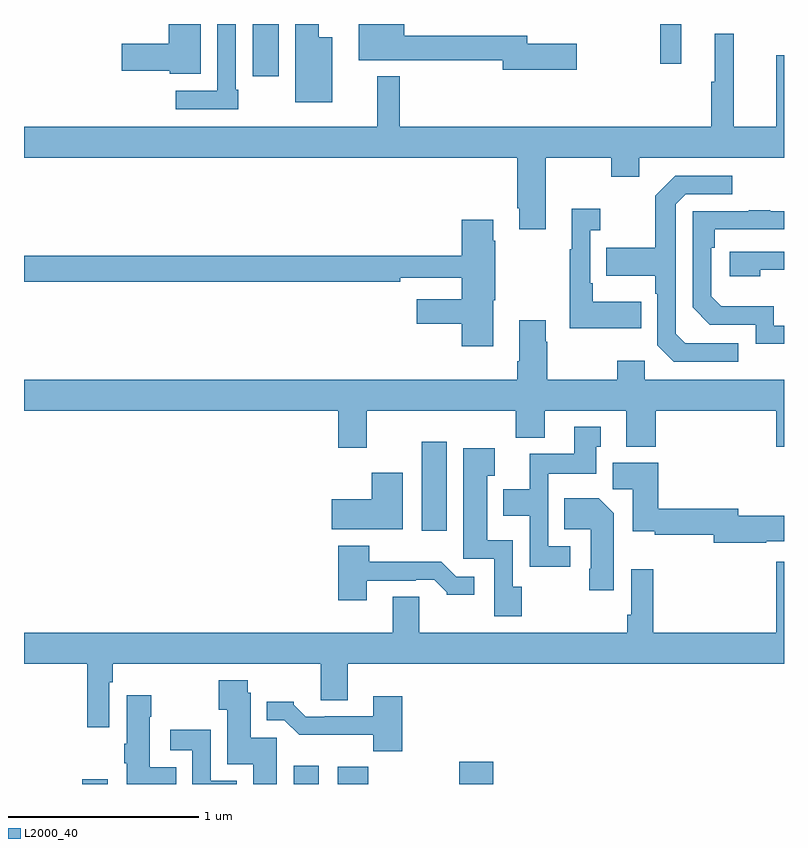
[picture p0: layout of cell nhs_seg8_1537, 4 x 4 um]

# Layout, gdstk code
import gdstk
lib = gdstk.Library(unit=1e-6, precision=1e-09)
def R(c, l, rs):  # rectangles x0, y0, x1, y1
    for r in rs: c.add(gdstk.rectangle(r[:2], r[2:], *l))
def P(c, l, *ps):  # polygons
    for p in ps: c.add(gdstk.Polygon(p, *l))
L2000_40 = (2000, 40)

nhs_seg8_1537 = lib.new_cell('nhs_seg8_1537')
R(nhs_seg8_1537, L2000_40, [(209.306,1083.9,209.44,1083.925), (210.419,1083.9,210.55,1083.997), (210.65,1083.9,210.812,1083.991), (211.291,1083.9,211.469,1084.018), (211.094,1085.232,211.225,1085.701), (210.203,1087.626,210.34,1087.9), (212.349,1087.692,212.459,1087.9)])
P(nhs_seg8_1537, L2000_40, [(210.127,1087.555),(210.114,1087.555),(210.114,1087.9),(210.018,1087.9),(210.018,1087.548),(209.799,1087.548),(209.799,1087.452),(210.127,1087.452)],
  [(209.929,1087.9),(209.762,1087.9),(209.762,1087.796),(209.514,1087.796),(209.514,1087.654),(209.766,1087.654),(209.766,1087.637),(209.929,1087.637)],
  [(211.909,1087.797),(211.648,1087.797),(211.648,1087.838),(211,1087.838),(211,1087.9),(210.761,1087.9),(210.761,1087.709),(210.996,1087.709),(210.996,1087.71),(211.52,1087.71),(211.52,1087.66),(211.909,1087.66)],
  [(210.622,1087.831),(210.55,1087.831),(210.55,1087.9),(210.428,1087.9),(210.428,1087.487),(210.622,1087.487)],
  [(211.747,1087.196),(212.092,1087.196),(212.092,1087.097),(212.239,1087.097),(212.239,1087.196),(213,1087.196),(213,1087.735),(212.96,1087.735),(212.96,1087.36),(212.736,1087.36),(212.736,1087.849),(212.636,1087.849),(212.636,1087.596),(212.617,1087.596),(212.617,1087.36),(210.977,1087.36),(210.977,1087.624),(210.859,1087.624),(210.859,1087.36),(209,1087.36),(209,1087.196),(211.595,1087.196),(211.595,1086.931),(211.607,1086.931),(211.607,1086.819),(211.747,1086.819)],
  [(212.758,1086.219),(212.481,1086.219),(212.43,1086.27),(212.43,1086.951),(212.484,1087.005),(212.728,1087.005),(212.728,1087.101),(212.427,1087.101),(212.322,1086.995),(212.322,1086.723),(212.065,1086.723),(212.065,1086.575),(212.322,1086.575),(212.322,1086.479),(212.334,1086.479),(212.334,1086.21),(212.421,1086.123),(212.758,1086.123)],
  [(212.249,1086.439),(211.993,1086.439),(211.993,1086.535),(211.98,1086.535),(211.98,1086.815),(212.032,1086.815),(212.032,1086.928),(211.883,1086.928),(211.883,1086.715),(211.872,1086.715),(211.872,1086.299),(212.249,1086.299)],
  [(213,1086.312),(212.946,1086.312),(212.946,1086.415),(212.669,1086.415),(212.616,1086.468),(212.616,1086.722),(212.636,1086.722),(212.636,1086.819),(213,1086.819),(213,1086.915),(212.927,1086.915),(212.927,1086.92),(212.815,1086.92),(212.815,1086.915),(212.52,1086.915),(212.52,1086.408),(212.61,1086.318),(212.85,1086.318),(212.85,1086.216),(213,1086.216)],
  [(211.471,1086.447),(211.479,1086.447),(211.479,1086.758),(211.471,1086.758),(211.471,1086.871),(211.304,1086.871),(211.304,1086.68),(209,1086.68),(209,1086.544),(210.98,1086.544),(210.98,1086.564),(211.304,1086.564),(211.304,1086.451),(211.068,1086.451),(211.068,1086.322),(211.304,1086.322),(211.304,1086.204),(211.471,1086.204)],
  [(212.876,1086.606),(213,1086.606),(213,1086.702),(212.715,1086.702),(212.715,1086.572),(212.876,1086.572)],
  [(210.805,1085.864),(211.589,1085.864),(211.589,1085.723),(211.741,1085.723),(211.741,1085.864),(212.171,1085.864),(212.171,1085.675),(212.324,1085.675),(212.324,1085.864),(212.96,1085.864),(212.96,1085.676),(213,1085.676),(213,1086.028),(212.268,1086.028),(212.268,1086.127),(212.122,1086.127),(212.122,1086.028),(211.755,1086.028),(211.755,1086.227),(211.747,1086.227),(211.747,1086.34),(211.607,1086.34),(211.607,1086.124),(211.595,1086.124),(211.595,1086.028),(209,1086.028),(209,1085.864),(210.653,1085.864),(210.653,1085.67),(210.805,1085.67)],
  [(211.876,1085.151),(211.758,1085.151),(211.758,1085.534),(212.011,1085.534),(212.011,1085.676),(212.035,1085.676),(212.035,1085.779),(211.895,1085.779),(211.895,1085.638),(211.661,1085.638),(211.661,1085.451),(211.523,1085.451),(211.523,1085.312),(211.662,1085.312),(211.662,1085.043),(211.876,1085.043)],
  [(211.62,1084.938),(211.572,1084.938),(211.572,1085.182),(211.438,1085.182),(211.438,1085.522),(211.477,1085.522),(211.477,1085.668),(211.313,1085.668),(211.313,1085.085),(211.476,1085.085),(211.476,1084.782),(211.62,1084.782)],
  [(212.906,1085.177),(213,1085.177),(213,1085.312),(212.758,1085.312),(212.758,1085.348),(212.339,1085.348),(212.339,1085.59),(212.099,1085.59),(212.099,1085.452),(212.204,1085.452),(212.204,1085.231),(212.32,1085.231),(212.32,1085.212),(212.63,1085.212),(212.63,1085.17),(212.906,1085.17)],
  [(210.994,1085.539),(210.83,1085.539),(210.83,1085.398),(210.621,1085.398),(210.621,1085.24),(210.994,1085.24)],
  [(212.104,1085.326),(212.026,1085.404),(211.843,1085.404),(211.843,1085.24),(211.982,1085.24),(211.982,1085.032),(211.975,1085.032),(211.975,1084.92),(212.104,1084.92)],
  [(210.805,1084.971),(211.061,1084.971),(211.061,1084.974),(211.16,1084.974),(211.224,1084.91),(211.224,1084.895),(211.369,1084.895),(211.369,1084.992),(211.275,1084.992),(211.197,1085.071),(210.818,1085.071),(210.818,1085.155),(210.653,1085.155),(210.653,1084.866),(210.805,1084.866)],
  [(209.448,1084.436),(209.468,1084.436),(209.468,1084.532),(210.563,1084.532),(210.563,1084.342),(210.703,1084.342),(210.703,1084.532),(213,1084.532),(213,1085.071),(212.96,1085.071),(212.96,1084.696),(212.312,1084.696),(212.312,1085.029),(212.196,1085.029),(212.196,1084.792),(212.176,1084.792),(212.176,1084.696),(211.081,1084.696),(211.081,1084.886),(210.941,1084.886),(210.941,1084.696),(209,1084.696),(209,1084.532),(209.332,1084.532),(209.332,1084.2),(209.448,1084.2)],
  [(210.331,1084.143),(210.193,1084.143),(210.193,1084.38),(210.177,1084.38),(210.177,1084.447),(210.025,1084.447),(210.025,1084.291),(210.071,1084.291),(210.071,1084.004),(210.206,1084.004),(210.206,1083.9),(210.331,1083.9)],
  [(209.801,1083.988),(209.662,1083.988),(209.662,1084.253),(209.67,1084.253),(209.67,1084.366),(209.54,1084.366),(209.54,1084.112),(209.528,1084.112),(209.528,1084.009),(209.54,1084.009),(209.54,1083.902),(209.542,1083.9),(209.801,1083.9)],
  [(210.992,1084.363),(210.839,1084.363),(210.839,1084.257),(210.583,1084.257),(210.583,1084.254),(210.484,1084.254),(210.42,1084.318),(210.42,1084.333),(210.278,1084.333),(210.278,1084.236),(210.369,1084.236),(210.448,1084.158),(210.837,1084.158),(210.837,1084.073),(210.992,1084.073)],
  [(210.121,1083.916),(209.982,1083.916),(209.982,1084.186),(209.769,1084.186),(209.769,1084.077),(209.886,1084.077),(209.886,1083.9),(210.121,1083.9)])

lib.write_gds('nhs_seg8_1537.gds')
